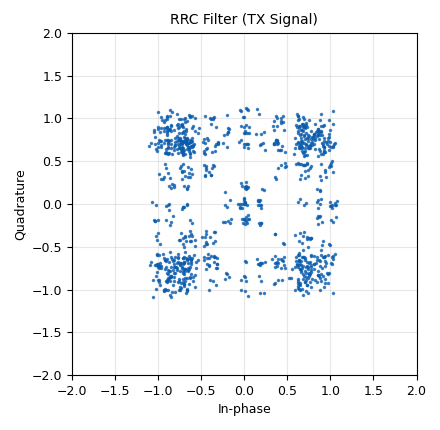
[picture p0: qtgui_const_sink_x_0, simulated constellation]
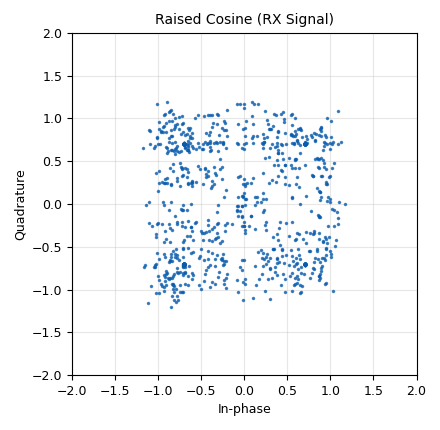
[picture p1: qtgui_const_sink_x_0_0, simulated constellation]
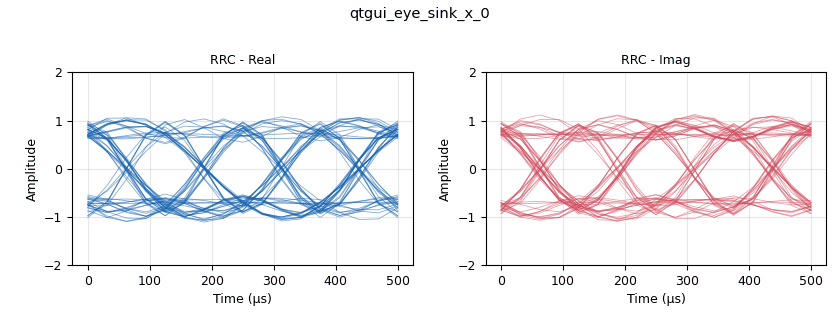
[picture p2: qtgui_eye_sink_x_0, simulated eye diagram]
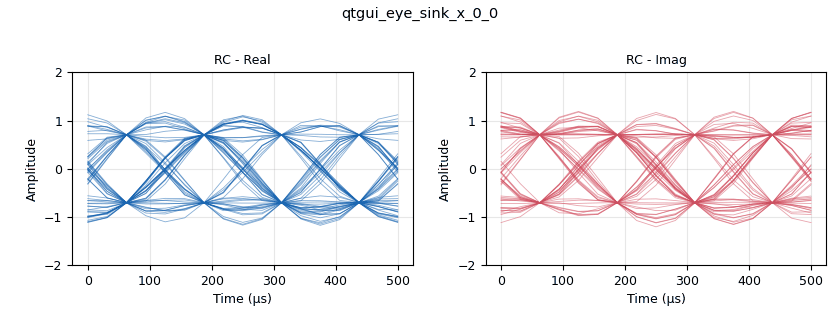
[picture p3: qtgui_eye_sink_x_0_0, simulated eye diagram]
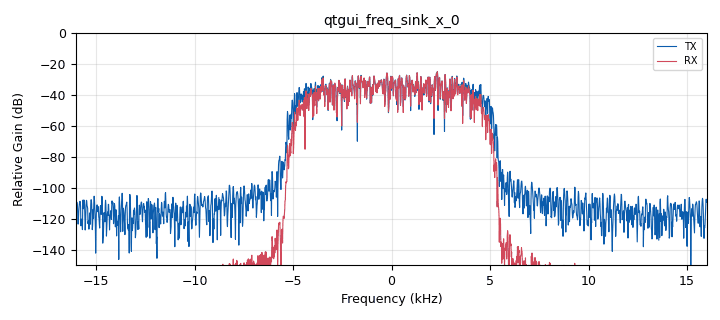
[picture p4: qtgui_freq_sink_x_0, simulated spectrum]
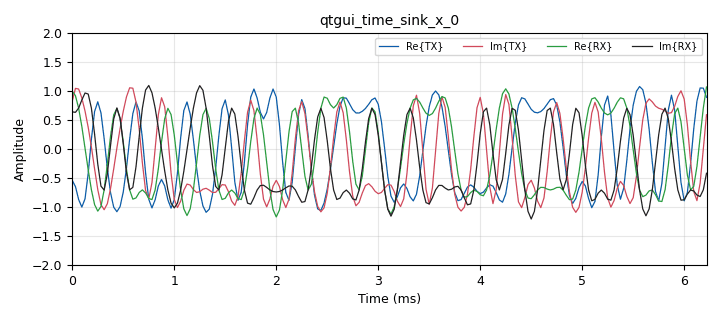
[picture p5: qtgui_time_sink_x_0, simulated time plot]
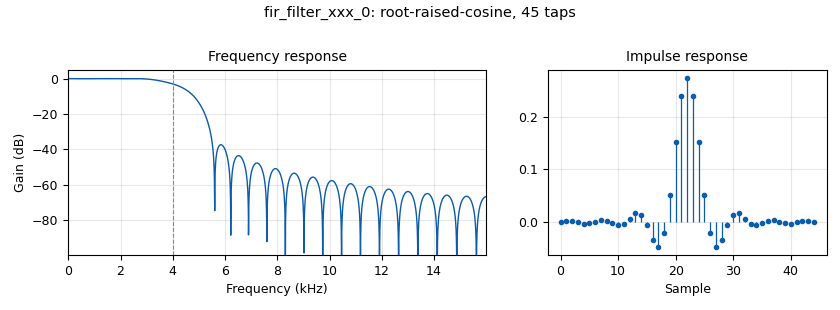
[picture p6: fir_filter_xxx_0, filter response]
options:
  parameters:
    author: Ivan Antony Babu
    category: Custom
    generate_options: qt_gui
    id: qpsk_stage1_ver2
    output_language: python
    title: qpsk_stage1_ver2
  states: {}

blocks:
- name: excess_bw
  id: variable
  parameters:
    value: '0.35'
  states: {}
- name: qpsk
  id: variable_constellation_rect
  parameters:
    comment: 'Constellation Points: [0.707+0.707j, -0.707+0.707j, -0.707-0.707j, 0.707-0.707j]'
    const_points: '[0.707+0.707j, -0.707+0.707j, -0.707-0.707j, 0.707-0.707j]'
    imag_sect: '2'
    real_sect: '2'
    rot_sym: '4'
    sym_map: '[0, 1, 2, 3]'
    w_imag_sect: '1'
    w_real_sect: '1'
  states: {}
- name: rrc_taps
  id: variable
  parameters:
    comment: 'Value: firdes.root_raised_cosine(1, samp_rate, samp_rate/sps, excess_bw, 11*sps)'
    value: firdes.root_raised_cosine(1, samp_rate, samp_rate/sps, excess_bw, 11*sps)
  states: {}
- name: samp_rate
  id: variable
  parameters:
    value: '32000'
  states: {}
- name: sps
  id: variable
  parameters:
    value: '4'
  states: {}
- name: analog_random_source_x_0
  id: analog_random_source_x
  parameters:
    max: '256'
    min: '0'
    num_samps: '10000'
    repeat: 'True'
    type: byte
  states: {}
- name: blocks_throttle2_0
  id: blocks_throttle2
  parameters:
    samples_per_second: samp_rate
    type: complex
  states: {}
- name: digital_constellation_modulator_0
  id: digital_constellation_modulator
  parameters:
    constellation: qpsk
    differential: 'True'
    excess_bw: excess_bw
    samples_per_symbol: sps
  states: {}
- name: fir_filter_xxx_0
  id: fir_filter_xxx
  parameters:
    decim: '1'
    taps: rrc_taps
    type: ccc
  states: {}
- name: myTabs
  id: qtgui_tab_widget
  parameters:
    gui_hint: 0,0,20,20
    label0: Time, Freq and Constellation
    label1: Eye Diagrams
    num_tabs: '2'
  states: {}
- name: qtgui_const_sink_x_0
  id: qtgui_const_sink_x
  parameters:
    alpha1: '1'
    comment: myTabs@0:10,0,10,10
    gui_hint: myTabs@0:10,0,10,10
    label1: TX
    legend: 'False'
    marker1: '-1'
    name: RRC Filter (TX Signal)
    size: '1024'
    style1: '1'
    type: complex
  states: {}
- name: qtgui_const_sink_x_0_0
  id: qtgui_const_sink_x
  parameters:
    alpha1: '1'
    color1: '"red"'
    comment: myTabs@0:10,10,10,10
    gui_hint: myTabs@0:10,10,10,10
    label1: TX
    legend: 'False'
    marker1: '-1'
    name: Raised Cosine (RX Signal)
    size: '1024'
    style1: '1'
    type: complex
  states: {}
- name: qtgui_eye_sink_x_0
  id: qtgui_eye_sink_x
  parameters:
    color1: black
    color2: black
    comment: myTabs@1:0,0,10,20
    gui_hint: myTabs@1:0,0,10,20
    label1: RRC - Real
    label2: RRC - Imag
    samp_per_symbol: sps*2
    size: '1024'
    srate: samp_rate
    type: complex
    ymax: '2'
    ymin: '-2'
  states: {}
- name: qtgui_eye_sink_x_0_0
  id: qtgui_eye_sink_x
  parameters:
    comment: myTabs@1:10,0,10,20
    gui_hint: myTabs@1:10,0,10,20
    label1: RC - Real
    label2: RC - Imag
    samp_per_symbol: sps*2
    size: '1024'
    srate: samp_rate
    type: complex
    ymax: '2'
    ymin: '-2'
  states: {}
- name: qtgui_freq_sink_x_0
  id: qtgui_freq_sink_x
  parameters:
    alpha1: '0.6'
    alpha2: '0.6'
    bw: samp_rate
    comment: myTabs@0:0,10,10,10
    fc: '0'
    fftsize: '2048'
    gui_hint: myTabs@0:0,10,10,10
    label1: TX
    label2: RX
    name: ''
    nconnections: '2'
    showports: 'True'
    type: complex
    width1: '2'
    width2: '2'
    ymax: '0'
    ymin: '-150'
  states: {}
- name: qtgui_time_sink_x_0
  id: qtgui_time_sink_x
  parameters:
    alpha1: '0.5'
    alpha2: '0.5'
    alpha3: '0.5'
    alpha4: '0.5'
    comment: myTabs@0:0,0,10,10
    gui_hint: myTabs@0:0,0,10,10
    label1: Re{TX}
    label2: Im{TX}
    label3: Re{RX}
    label4: Im{RX}
    name: ''
    nconnections: '2'
    size: '200'
    srate: samp_rate
    type: complex
    ymax: '2'
    ymin: '-2'
  states: {}
- name: virtual_sink_0
  id: virtual_sink
  parameters:
    stream_id: tx
  states: {}
- name: virtual_sink_1
  id: virtual_sink
  parameters:
    stream_id: rx
  states: {}
- name: virtual_source_0
  id: virtual_source
  parameters:
    stream_id: tx
  states: {}
- name: virtual_source_1
  id: virtual_source
  parameters:
    stream_id: rx
  states: {}

connections:
- [analog_random_source_x_0, '0', digital_constellation_modulator_0, '0']
- [blocks_throttle2_0, '0', fir_filter_xxx_0, '0']
- [blocks_throttle2_0, '0', qtgui_const_sink_x_0, '0']
- [blocks_throttle2_0, '0', qtgui_eye_sink_x_0, '0']
- [blocks_throttle2_0, '0', virtual_sink_0, '0']
- [digital_constellation_modulator_0, '0', blocks_throttle2_0, '0']
- [fir_filter_xxx_0, '0', qtgui_const_sink_x_0_0, '0']
- [fir_filter_xxx_0, '0', qtgui_eye_sink_x_0_0, '0']
- [fir_filter_xxx_0, '0', virtual_sink_1, '0']
- [virtual_source_0, '0', qtgui_freq_sink_x_0, '0']
- [virtual_source_0, '0', qtgui_time_sink_x_0, '0']
- [virtual_source_1, '0', qtgui_freq_sink_x_0, '1']
- [virtual_source_1, '0', qtgui_time_sink_x_0, '1']

metadata:
  file_format: 1
  grc_version: 3.10.12.0
